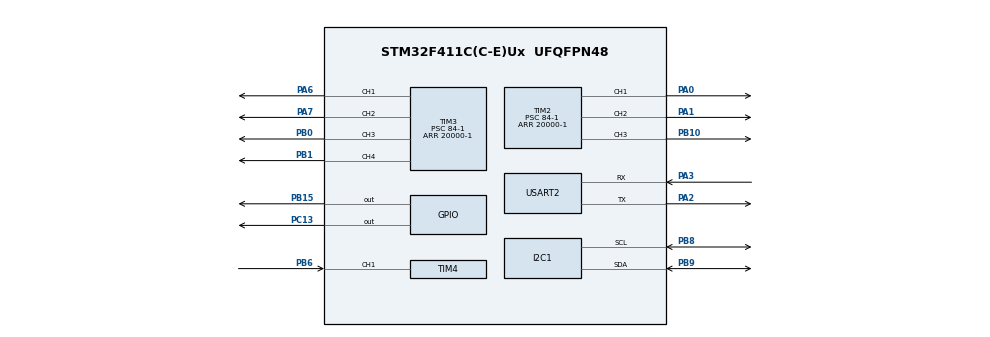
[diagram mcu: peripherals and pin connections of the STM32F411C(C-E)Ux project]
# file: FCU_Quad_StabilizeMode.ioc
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Mcu.Family=STM32F4
Mcu.Name=STM32F411C(C-E)Ux
Mcu.Package=UFQFPN48
NVIC.PriorityGroup=NVIC_PRIORITYGROUP_4
NVIC.TIM4_IRQn=true\:0\:0\:false\:false\:true\:true\:true\:true
PA0-WKUP.Signal=S_TIM2_CH1_ETR
PA1.Signal=S_TIM2_CH2
PA2.Mode=Asynchronous
PA2.Signal=USART2_TX
PA3.Mode=Asynchronous
PA3.Signal=USART2_RX
PA6.Signal=S_TIM3_CH1
PA7.Signal=S_TIM3_CH2
PB0.Signal=S_TIM3_CH3
PB1.Signal=S_TIM3_CH4
PB10.Signal=S_TIM2_CH3
PB15.Signal=GPIO_Output
PB6.GPIO_PuPd=GPIO_PULLDOWN
PB6.Signal=S_TIM4_CH1
PB8.Mode=I2C
PB8.Signal=I2C1_SCL
PB9.Mode=I2C
PB9.Signal=I2C1_SDA
PC13-ANTI_TAMP.PinState=GPIO_PIN_SET
PC13-ANTI_TAMP.Signal=GPIO_Output
ProjectManager.HeapSize=0x200
ProjectManager.StackSize=0x400
ProjectManager.TargetToolchain=STM32CubeIDE
RCC.48MHZClocksFreq_Value=42000000
RCC.AHBFreq_Value=84000000
RCC.APB1CLKDivider=RCC_HCLK_DIV2
RCC.APB1Freq_Value=42000000
RCC.APB1TimFreq_Value=84000000
RCC.APB2Freq_Value=84000000
RCC.APB2TimFreq_Value=84000000
RCC.CortexFreq_Value=84000000
RCC.HCLKFreq_Value=84000000
RCC.HSE_VALUE=25000000
RCC.HSI_VALUE=16000000
RCC.LSE_VALUE=32768
RCC.PLLM=8
RCC.PLLN=84
RCC.SYSCLKFreq_VALUE=84000000
RCC.SYSCLKSource=RCC_SYSCLKSOURCE_PLLCLK
RCC.VCOOutputFreq_Value=168000000
SH.S_TIM2_CH1_ETR.0=TIM2_CH1,PWM Generation1 CH1
SH.S_TIM2_CH2.0=TIM2_CH2,PWM Generation2 CH2
SH.S_TIM2_CH3.0=TIM2_CH3,PWM Generation3 CH3
SH.S_TIM3_CH1.0=TIM3_CH1,PWM Generation1 CH1
SH.S_TIM3_CH2.0=TIM3_CH2,PWM Generation2 CH2
SH.S_TIM3_CH3.0=TIM3_CH3,PWM Generation3 CH3
SH.S_TIM3_CH4.0=TIM3_CH4,PWM Generation4 CH4
SH.S_TIM4_CH1.0=TIM4_CH1,Input_Capture1_from_TI1
TIM10.Prescaler=84-1
TIM2.Channel-PWM\ Generation1\ CH1=TIM_CHANNEL_1
TIM2.Channel-PWM\ Generation2\ CH2=TIM_CHANNEL_2
TIM2.Channel-PWM\ Generation3\ CH3=TIM_CHANNEL_3
TIM2.Period=20000-1
TIM2.Prescaler=84-1
TIM3.Channel-PWM\ Generation1\ CH1=TIM_CHANNEL_1
TIM3.Channel-PWM\ Generation2\ CH2=TIM_CHANNEL_2
TIM3.Channel-PWM\ Generation3\ CH3=TIM_CHANNEL_3
TIM3.Channel-PWM\ Generation4\ CH4=TIM_CHANNEL_4
TIM3.Period=20000-1
TIM3.Prescaler=84-1
TIM4.Channel-Input_Capture1_from_TI1=TIM_CHANNEL_1
TIM4.Prescaler=84-1
USART2.VirtualMode=VM_ASYNC
VP_TIM10_VS_ClockSourceINT.Mode=Enable_Timer
VP_TIM2_VS_ClockSourceINT.Mode=Internal
VP_TIM3_VS_ClockSourceINT.Mode=Internal
VP_TIM4_VS_ClockSourceINT.Mode=Internal
board=custom

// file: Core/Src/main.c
/* USER CODE BEGIN Header */
/**
 ******************************************************************************
 * @file           : main.c
 * @brief          : Main program body
 ******************************************************************************
 * @attention
 *
 * Copyright (c) 2025 STMicroelectronics.
 * All rights reserved.
 *
 * This software is licensed under terms that can be found in the LICENSE file
 * in the root directory of this software component.
 * If no LICENSE file comes with this software, it is provided AS-IS.
 *
 ******************************************************************************
 */
/* USER CODE END Header */
#include "main.h"

/* USER CODE BEGIN Includes */
#include "string.h"
#include "mpu6050.h"
#include <stdio.h>
#include <math.h>
/* USER CODE END Includes */

/* USER CODE BEGIN PD */
#define PUTCHAR_PROTOTYPE int __io_putchar(int ch)

/* USER CODE END PD */

I2C_HandleTypeDef hi2c1;

TIM_HandleTypeDef htim2;
TIM_HandleTypeDef htim3;
TIM_HandleTypeDef htim4;
TIM_HandleTypeDef htim10;

UART_HandleTypeDef huart2;

/* USER CODE BEGIN PV */
volatile uint16_t ppm_live_channels[8];
volatile uint16_t ppm_ready_channels[8];
uint16_t display_channels[8];
volatile uint8_t pulse = 1;

volatile uint8_t ppm_new_data_flag = 0;
volatile uint32_t last_capture = 0;

char msg[100];

volatile uint32_t ICValue_1 = 0;
volatile uint32_t frequency_1 = 0;
volatile float duty_1 = 0;

volatile uint32_t ICValue_2 = 0;
volatile uint32_t frequency_2 = 0;
volatile float duty_2 = 0;

volatile uint32_t ICValue_3 = 0;
volatile uint32_t frequency_3 = 0;
volatile float duty_3 = 0;
volatile uint32_t loop_dt_us = 0;

volatile uint32_t ICValue_4 = 0;
volatile uint32_t frequency_4 = 0;
volatile float duty_4 = 0;

volatile uint32_t ICValue_5 = 0;
volatile uint32_t frequency_5 = 0;
volatile float duty_5 = 0;

volatile uint32_t ICValue_6 = 0;
volatile uint32_t frequency_6 = 0;
volatile float duty_6 = 0;

volatile float pulse_width_us_1;
volatile float pulse_width_us_2;
volatile float pulse_width_us_3;
volatile float pulse_width_us_4;
volatile float pulse_width_us_5;
volatile float pulse_width_us_6;

uint32_t ms = 0;
float calibration_const_global_roll_accel = 0;
float calibration_const_global_pitch_accel = 0;

float calibration_const_global_roll_gyro = 0;
float calibration_const_global_pitch_gyro = 0;

float calibration_const_global_gx = 0;
float calibration_const_global_gy = 0;
float calibration_const_global_gz = 0;

float calibration_const_global_ax = 0;
float calibration_const_global_ay = 0;
float calibration_const_global_az = 0;

float DesiredRateRoll, DesiredRatePitch, DesiredRateYaw;
float ErrorRateRoll, ErrorRatePitch, ErrorRateYaw;
float InputRoll, InputThrottle, InputPitch, InputYaw;
float PrevErrorRateRoll, PrevErrorRatePitch, PrevErrorRateYaw;
float PrevItermRateRoll, PrevItermRatePitch, PrevItermRateYaw;
float PIDReturn[] = { 0, 0, 0 };

float DesiredAngleRoll, DesiredAnglePitch;
float ErrorAngleRoll, ErrorAnglePitch;
float PrevErrorAngleRoll, PrevErrorAnglePitch;
float PrevItermAngleRoll, PrevItermAnglePitch;
float PAngleRoll = 3.0f;
float PAnglePitch = 3.0f;
float IAngleRoll = 0.0f;
float IAnglePitch = 0.0f;
float DAngleRoll = 0.0f;
float DAnglePitch = 0.0f;

float AccZInertial = 0.0f;

float VelocityVertical = 0.0f;

uint32_t last_time;

uint32_t M1 = 0;
uint32_t M2 = 0;
uint32_t M3 = 0;
uint32_t M4 = 0;

int cnt = 0;
float dt = 0;
int prev_cnt = 0;

float gyro_x = 0;
float gyro_y = 0;
float gyro_z = 0;
float accel_roll = 0;
float accel_pitch = 0;

float kalman_roll = 0.0f;
float kalman_pitch = 0.0f;

float PRateRoll = 0.52f;
float PRatePitch = 0.52f;
float PRateYaw = 2;
float IRateRoll = 3.65f;
float IRatePitch = 3.65f;
float IRateYaw = 12;
float DRateRoll = 0.02f;
float DRatePitch = 0.02f;
float DRateYaw = 0;

int measure = 0;

/* USER CODE END PV */

void SystemClock_Config(void);
static void MX_GPIO_Init(void);
static void MX_I2C1_Init(void);
static void MX_TIM3_Init(void);
static void MX_TIM4_Init(void);
static void MX_TIM2_Init(void);
static void MX_USART2_UART_Init(void);
static void MX_TIM10_Init(void);

/* USER CODE BEGIN 0 */

void HAL_TIM_IC_CaptureCallback(TIM_HandleTypeDef *htim) {

	if (htim->Instance == TIM4 && htim->Channel == HAL_TIM_ACTIVE_CHANNEL_1) {
		uint32_t current_capture = HAL_TIM_ReadCapturedValue(htim,
		TIM_CHANNEL_1);
		uint16_t pulse_width;

		if (current_capture > last_capture) {
			pulse_width = current_capture - last_capture;
		} else {
			pulse_width = (65535 - last_capture) + current_capture;
		}

		if (pulse_width > 3000) {

			memcpy((void*) ppm_ready_channels, (void*) ppm_live_channels,
					sizeof(ppm_live_channels));
			ppm_new_data_flag = 1;

			pulse = 1;
		}

		else {
			switch (pulse) {
			case 1:
				ppm_live_channels[0] = pulse_width;
				pulse++;
				break;
			case 2:
				ppm_live_channels[1] = pulse_width;
				pulse++;
				break;
			case 3:
				ppm_live_channels[2] = pulse_width;
				pulse++;
				break;
			case 4:
				ppm_live_channels[3] = pulse_width;
				pulse++;
				break;
			case 5:
				ppm_live_channels[4] = pulse_width;
				pulse++;
				break;
			case 6:
				ppm_live_channels[5] = pulse_width;
				pulse++;
				break;
			case 7:
				ppm_live_channels[6] = pulse_width;
				pulse++;
				break;
			default:

				pulse++;
				break;
			}
		}
		last_capture = current_capture;
	}

}

void set_raw_ccr(int ccr_val, int channel) // use this instead , cofnigured for arr = 20k-1 - aryan
{
	if (channel == 1) {
		__HAL_TIM_SET_COMPARE(&htim2, TIM_CHANNEL_1, ccr_val);
	} else if (channel == 2) {
		__HAL_TIM_SET_COMPARE(&htim2, TIM_CHANNEL_2, ccr_val);
	} else if (channel == 3) {
		__HAL_TIM_SET_COMPARE(&htim2, TIM_CHANNEL_3, ccr_val);
	} else if (channel == 4) {
		__HAL_TIM_SET_COMPARE(&htim3, TIM_CHANNEL_1, ccr_val);
	} else if (channel == 5) {
		__HAL_TIM_SET_COMPARE(&htim3, TIM_CHANNEL_2, ccr_val);
	} else if (channel == 6) {
		__HAL_TIM_SET_COMPARE(&htim3, TIM_CHANNEL_3, ccr_val);
	} else if (channel == 7) {
		__HAL_TIM_SET_COMPARE(&htim3, TIM_CHANNEL_4, ccr_val);
	}
}

void pid_equation(float Error, float P, float I, float D, float PrevError,
		float PrevIterm) {

	float Pterm = P * Error; // - simple multiplication of p term with error
	float Iterm = PrevIterm + I * (Error + PrevError) * 0.004 / 2; //trapezoidal integration - aryan
	if (Iterm > 400) // i term negative and positive clamp - aryan
		Iterm = 400;
	else if (Iterm < -400)
		Iterm = -400;
	float Dterm = D * (Error - PrevError) / 0.004; // - trapezoidal derivative - aryan
	float PIDOutput = Pterm + Iterm + Dterm;
	if (PIDOutput > 400) // pid output limiter, low for laggier response, higher for faster response
		PIDOutput = 400;
	else if (PIDOutput < -400)
		PIDOutput = -400;
	PIDReturn[0] = PIDOutput;
	PIDReturn[1] = Error;
	PIDReturn[2] = Iterm;
}

float vertical_velocity(void) {
	AccZInertial = -sin(kalman_pitch * (3.142 / 180))
			* (mpu_accel_read(0) - calibration_const_global_ax)
			+ cos(kalman_pitch * (3.142 / 180))
					* sin(kalman_roll * (3.142 / 180))
					* (mpu_accel_read(1) - calibration_const_global_ay)
			+ cos(kalman_pitch * (3.142 / 180))
					* cos(kalman_roll * (3.142 / 180))
					* (mpu_accel_read(2) - calibration_const_global_az);

	AccZInertial = (AccZInertial - 1) * 9.81 * 100;

	VelocityVertical = VelocityVertical + AccZInertial * 0.004;

	return VelocityVertical;

}

PUTCHAR_PROTOTYPE {
	/* Place your implementation of fputc here */
	/* e.g. write a character to the USART1 and Loop until the end of transmission */
	HAL_UART_Transmit(&huart2, (uint8_t*) &ch, 1, 0xFFFF);

	return ch;
}

uint32_t mapRCtoMotor(uint16_t rcValue) {
	if (rcValue > 2000) {
		rcValue = 2000;
	}
	if (rcValue < 1000) {
		rcValue = 1000;
	}
	// used simple ratio vala logic (y-0/63000-0 = x-1000 / 2000-1000)
	uint32_t motorValue = (uint32_t) (rcValue - 1000) * 180 / 1000;
	return motorValue;
}

uint32_t micros(void) {
	return __HAL_TIM_GET_COUNTER(&htim10);
}

float mapRCtoPID(uint16_t rcValue) {
	if (rcValue > 2000)
		rcValue = 2000;
	if (rcValue < 1000)
		rcValue = 1000;
	return (rcValue - 1000) * 10.0f / 1000.0f;
}

void reset_pid(void) {
	PrevErrorRateRoll = 0;
	PrevErrorRatePitch = 0;
	PrevErrorRateYaw = 0;

	PrevItermRateRoll = 0;
	PrevItermRatePitch = 0;
	PrevItermRateYaw = 0;

	PrevErrorAngleRoll = 0;
	PrevErrorAnglePitch = 0;
	PrevItermAngleRoll = 0;
	PrevItermAnglePitch = 0;
}
/* USER CODE END 0 */

int main(void) {

	/* MCU Configuration--------------------------------------------------------*/

	/* Reset of all peripherals, Initializes the Flash interface and the Systick. */
	HAL_Init();

	/* Configure the system clock */
	SystemClock_Config();

	/* Initialize all configured peripherals */
	MX_GPIO_Init();
	MX_I2C1_Init();
	MX_TIM3_Init();
	MX_TIM4_Init();
	MX_TIM2_Init();
	MX_USART2_UART_Init();
	MX_TIM10_Init();
	/* USER CODE BEGIN 2 */

	HAL_TIM_PWM_Start(&htim2, TIM_CHANNEL_1); //pwm out tim2
	HAL_TIM_PWM_Start(&htim2, TIM_CHANNEL_2);
	HAL_TIM_PWM_Start(&htim2, TIM_CHANNEL_3);
	HAL_TIM_PWM_Start(&htim3, TIM_CHANNEL_1); //pwm out tim3
	HAL_TIM_PWM_Start(&htim3, TIM_CHANNEL_2);
	HAL_TIM_PWM_Start(&htim3, TIM_CHANNEL_3);
	HAL_TIM_PWM_Start(&htim3, TIM_CHANNEL_4);
	HAL_TIM_IC_Start_IT(&htim4, TIM_CHANNEL_1);

	int ThrottleIdle = 1050;

	mpu_init();

/*
	calibration_const_global_gx = mpu_gyro_calibration(0);
	calibration_const_global_gy = mpu_gyro_calibration(1);
	calibration_const_global_gz = mpu_gyro_calibration(2);

	calibration_const_global_roll_accel = mpu_roll_pitch_calibration_accel(0);
	calibration_const_global_pitch_accel = mpu_roll_pitch_calibration_accel(1);
*/

	HAL_TIM_Base_Start(&htim10);

	last_time = micros();

	/* USER CODE END 2 */

	/* Infinite loop */
	/* USER CODE BEGIN WHILE */
	while (1) {
		uint32_t now = micros();

		/* handle TIM10 wraparound */
		if (now < last_time)
		{
		    last_time = now;
		    //return;   // skip this loop safely
		}

		uint32_t dt = now - last_time;

		if (dt >= 4000)
		{
		    loop_dt_us = dt;   // <-- THIS is what you plot
		    last_time = now;

		    /* rest of your control loop stays unchanged */

			ms = now - last_time;
			last_time = now;

			////////ppm/////////
			memcpy(display_channels, (void*) ppm_ready_channels,
					sizeof(ppm_ready_channels));
			ppm_new_data_flag = 0;

			//////ppm//////////

			//desired set point calc - aryan
			DesiredAngleRoll = 0.10 * (display_channels[0] - 1500);
			DesiredAnglePitch = 0.10 * (display_channels[1] - 1500);
			InputThrottle = display_channels[2];
			DesiredRateYaw = 0.15 * (display_channels[3] - 1500);

			DesiredRateYaw = -DesiredRateYaw;

			//realtime pid mapping - uncomment out for tuning

			PAngleRoll = mapRCtoPID(display_channels[4]);
			PAnglePitch = mapRCtoPID(display_channels[4]);

			/*		PRatePitch = mapRCtoPID(display_channels[4]);
			 PRateRoll = mapRCtoPID(display_channels[4]);
			 PRatePitch = mapRCtoPID(display_channels[4]);

			 IRateRoll = mapRCtoPID(display_channels[5]);
			 IRatePitch = mapRCtoPID(display_channels[5]);*/

			//stabilize controller
			//error calc (desired - current = error oof)
			mpu_get_kalman_angles(&kalman_roll, &kalman_pitch);

			ErrorAngleRoll = DesiredAngleRoll - kalman_roll;
			ErrorAnglePitch = DesiredAnglePitch - kalman_pitch;

			//actual pid calculations and value return - aryan
			pid_equation(ErrorAngleRoll, PAngleRoll, IAngleRoll, DAngleRoll,
					PrevErrorAngleRoll, PrevItermAngleRoll);
			DesiredRateRoll = PIDReturn[0];
			PrevErrorAngleRoll = PIDReturn[1];
			PrevItermAngleRoll = PIDReturn[2];
			pid_equation(ErrorAnglePitch, PAnglePitch, IAnglePitch, DAnglePitch,
					PrevErrorAnglePitch, PrevItermAnglePitch);
			DesiredRatePitch = PIDReturn[0];
			PrevErrorAnglePitch = PIDReturn[1];
			PrevItermAnglePitch = PIDReturn[2];

			//rate controller
			ErrorRateRoll = DesiredRateRoll
					- (mpu_gyro_read(0) - calibration_const_global_gx); //x
			ErrorRatePitch = DesiredRatePitch
					- (mpu_gyro_read(1) - calibration_const_global_gy); //y
			ErrorRateYaw = DesiredRateYaw
					- (mpu_gyro_read(2) - calibration_const_global_gz); //z

			pid_equation(ErrorRateRoll, PRateRoll, IRateRoll, DRateRoll,
					PrevErrorRateRoll, PrevItermRateRoll);
			InputRoll = PIDReturn[0];
			PrevErrorRateRoll = PIDReturn[1];
			PrevItermRateRoll = PIDReturn[2];
			pid_equation(ErrorRatePitch, PRatePitch, IRatePitch, DRatePitch,
					PrevErrorRatePitch, PrevItermRatePitch);
			InputPitch = PIDReturn[0];
			PrevErrorRatePitch = PIDReturn[1];
			PrevItermRatePitch = PIDReturn[2];
			pid_equation(ErrorRateYaw, PRateYaw, IRateYaw, DRateYaw,
					PrevErrorRateYaw, PrevItermRateYaw);
			InputYaw = PIDReturn[0];
			PrevErrorRateYaw = PIDReturn[1];
			PrevItermRateYaw = PIDReturn[2];
			/*
			 printf(
			 "THR=%u ERR[R%+.2f P%+.2f Y%+.2f] PIDOUT[R%+.2f P%+.2f Y%+.2f] MIX[%ld,%ld,%ld,%ld]\n",
			 display_channels[2], ErrorRateRoll, ErrorRatePitch,
			 ErrorRateYaw, InputRoll, InputPitch, InputYaw, (long) M1,
			 (long) M2, (long) M3, (long) M4);
			 */

			//corresponds to each of the 4 motors and their respective motor mixing formulas - aryan
			//yaw is reversed, so basically flipping it back - aryan
			M1 = 1.024f * (InputThrottle - InputRoll - InputPitch - InputYaw);
			M2 = 1.024f * (InputThrottle - InputRoll + InputPitch + InputYaw);
			M3 = 1.024f * (InputThrottle + InputRoll + InputPitch - InputYaw);
			M4 = 1.024f * (InputThrottle + InputRoll - InputPitch + InputYaw);

///debug print
			/*
			 printf("THR=%u MIX=[%ld,%ld,%ld,%ld] PID=[R%+.1f P%+.1f Y%+.1f] OUT=[%lu,%lu,%lu,%lu]\n",
			 display_channels[2],
			 (long)M1, (long)M2, (long)M3, (long)M4,
			 InputRoll, InputPitch, InputYaw,
			 (unsigned long)M1, (unsigned long)M2,
			 (unsigned long)M3, (unsigned long)M4);

			 printf("GZ raw=%+.2f  GZ cal=%+.2f  ErrorY=%+.2f\n",
			 mpu_gyro_read(2),
			 mpu_gyro_read(2) - calibration_const_global_gz,
			 ErrorRateYaw);
			 */

			//basically the lowest the throttle can go - aryan
			if (M1 < ThrottleIdle)
				M1 = ThrottleIdle;
			if (M2 < ThrottleIdle)
				M2 = ThrottleIdle;
			if (M3 < ThrottleIdle)
				M3 = ThrottleIdle;
			if (M4 < ThrottleIdle)
				M4 = ThrottleIdle;

			// capping maximum m1-4 values - aryan

			if (M1 > 2000)
				M1 = 1999;
			if (M2 > 2000)
				M2 = 1999;
			if (M3 > 2000)
				M3 = 1999;
			if (M4 > 2000)
				M4 = 1999;

			//whenever 0 throttle issued to remote then cutoff and reset pid  - aryan

			int ThrottleCutOff = 1000;
			if (display_channels[2] < 1100) {
				M1 = ThrottleCutOff;
				M2 = ThrottleCutOff;
				M3 = ThrottleCutOff;
				M4 = ThrottleCutOff;
				reset_pid();
			}

			//finally send the issued motor power commands to the motors themselves - aryan

			//channel notes on our test setup - aryan

			/*	top right - tim 3 ch 1  -
			 top left - tim 3 ch 3
			 bottom right - tim 3 ch 4
			 bottom left - tim 3 ch 2*/

			set_raw_ccr(M1, 5); // func 4 is m3
			set_raw_ccr(M4, 7); // func 7 is m4
			set_raw_ccr(M3, 4);  // func 5 is m1
			set_raw_ccr(M2, 6); //func 6 is m2

//debug prints

			/*

			 printf("VVC is %f\n",vertical_velocity());

			 printf("P Roll and pitch is %f and I Roll and pitch is %f\n",PRatePitch, IRatePitch);

			 printf("CH: "
			 "0=%4u "
			 "1=%4u "
			 "2=%4u "
			 "3=%4u "
			 "4=%4u "
			 "5=%4u "
			 "6=%4u\r\n", display_channels[0], display_channels[1],
			 display_channels[2], display_channels[3],
			 display_channels[4], display_channels[5],
			 display_channels[6]);

			 printf("M1:%lu  M2:%lu  M3:%lu  M4:%lu\r\n",
			 (unsigned long) M1, (unsigned long) M2,
			 (unsigned long) M3, (unsigned long) M4);

			 printf("GYRO raw: gx=%+.2f gy=%+.2f gz=%+.2f\n",
			 mpu_gyro_read(0) - calibration_const_global_gx , mpu_gyro_read(1) - calibration_const_global_gy , mpu_gyro_read(2) - calibration_const_global_gz );

			 printf("ERR: eR=%+.2f eP=%+.2f eY=%+.2f\n", ErrorRateRoll,
			 ErrorRatePitch, ErrorRateYaw);

			 printf("PID R: P=%+.2f I=%+.2f D=%+.2f OUT=%+.2f\n",
			 PRateRoll * PrevErrorRateRoll,
			 PrevItermRateRoll,
			 InputRoll - (PRateRoll * PrevErrorRateRoll + PrevItermRateRoll),
			 InputRoll);

			 printf("PID P: P=%+.2f I=%+.2f D=%+.2f OUT=%+.2f\n",
			 PRatePitch * PrevErrorRatePitch,
			 PrevItermRatePitch,
			 InputPitch - (PRatePitch * PrevErrorRatePitch + PrevItermRatePitch),
			 InputPitch);

			 printf("PID Y: P=%+.2f I=%+.2f D=%+.2f OUT=%+.2f\n",
			 PRateYaw * PrevErrorRateYaw,
			 PrevItermRateYaw,
			 InputYaw - (PRateYaw * PrevErrorRateYaw + PrevItermRateYaw),
			 InputYaw);

			 printf("MIX raw: M1=%d M2=%d M3=%d M4=%d\n", M1, M2, M3, M4);

			 printf("PWM OUT: TR=%d TL=%d BL=%d BR=%d\n",
			 M1, M2, M3, M4);

			 printf("CH: "
			 "0=%4u "
			 "1=%4u "
			 "2=%4u "
			 "3=%4u "
			 "4=%4u "
			 "5=%4u "
			 "6=%4u\r\n", display_channels[0], display_channels[1],
			 display_channels[2], display_channels[3],
			 display_channels[4], display_channels[5],
			 display_channels[6]);

			 */
			measure = 0;
		}
	}
	/* USER CODE END WHILE */

}

void SystemClock_Config(void) {
RCC_OscInitTypeDef RCC_OscInitStruct = { 0 };
RCC_ClkInitTypeDef RCC_ClkInitStruct = { 0 };

/** Configure the main internal regulator output voltage
 */
__HAL_RCC_PWR_CLK_ENABLE();
__HAL_PWR_VOLTAGESCALING_CONFIG(PWR_REGULATOR_VOLTAGE_SCALE1);

/** Initializes the RCC Oscillators according to the specified parameters
 * in the RCC_OscInitTypeDef structure.
 */
RCC_OscInitStruct.OscillatorType = RCC_OSCILLATORTYPE_HSI;
RCC_OscInitStruct.HSIState = RCC_HSI_ON;
RCC_OscInitStruct.HSICalibrationValue = RCC_HSICALIBRATION_DEFAULT;
RCC_OscInitStruct.PLL.PLLState = RCC_PLL_ON;
RCC_OscInitStruct.PLL.PLLSource = RCC_PLLSOURCE_HSI;
RCC_OscInitStruct.PLL.PLLM = 8;
RCC_OscInitStruct.PLL.PLLN = 84;
RCC_OscInitStruct.PLL.PLLP = RCC_PLLP_DIV2;
RCC_OscInitStruct.PLL.PLLQ = 4;
if (HAL_RCC_OscConfig(&RCC_OscInitStruct) != HAL_OK) {
	Error_Handler();
}

/** Initializes the CPU, AHB and APB buses clocks
 */
RCC_ClkInitStruct.ClockType = RCC_CLOCKTYPE_HCLK | RCC_CLOCKTYPE_SYSCLK
		| RCC_CLOCKTYPE_PCLK1 | RCC_CLOCKTYPE_PCLK2;
RCC_ClkInitStruct.SYSCLKSource = RCC_SYSCLKSOURCE_PLLCLK;
RCC_ClkInitStruct.AHBCLKDivider = RCC_SYSCLK_DIV1;
RCC_ClkInitStruct.APB1CLKDivider = RCC_HCLK_DIV2;
RCC_ClkInitStruct.APB2CLKDivider = RCC_HCLK_DIV1;

if (HAL_RCC_ClockConfig(&RCC_ClkInitStruct, FLASH_LATENCY_2) != HAL_OK) {
	Error_Handler();
}
}

static void MX_I2C1_Init(void) {

hi2c1.Instance = I2C1;
hi2c1.Init.ClockSpeed = 100000;
hi2c1.Init.DutyCycle = I2C_DUTYCYCLE_2;
hi2c1.Init.OwnAddress1 = 0;
hi2c1.Init.AddressingMode = I2C_ADDRESSINGMODE_7BIT;
hi2c1.Init.DualAddressMode = I2C_DUALADDRESS_DISABLE;
hi2c1.Init.OwnAddress2 = 0;
hi2c1.Init.GeneralCallMode = I2C_GENERALCALL_DISABLE;
hi2c1.Init.NoStretchMode = I2C_NOSTRETCH_DISABLE;
if (HAL_I2C_Init(&hi2c1) != HAL_OK) {
	Error_Handler();
}

}

static void MX_TIM2_Init(void) {

TIM_ClockConfigTypeDef sClockSourceConfig = { 0 };
TIM_MasterConfigTypeDef sMasterConfig = { 0 };
TIM_OC_InitTypeDef sConfigOC = { 0 };

htim2.Instance = TIM2;
htim2.Init.Prescaler = 84 - 1;
htim2.Init.CounterMode = TIM_COUNTERMODE_UP;
htim2.Init.Period = 20000 - 1;
htim2.Init.ClockDivision = TIM_CLOCKDIVISION_DIV1;
htim2.Init.AutoReloadPreload = TIM_AUTORELOAD_PRELOAD_DISABLE;
if (HAL_TIM_Base_Init(&htim2) != HAL_OK) {
	Error_Handler();
}
sClockSourceConfig.ClockSource = TIM_CLOCKSOURCE_INTERNAL;
if (HAL_TIM_ConfigClockSource(&htim2, &sClockSourceConfig) != HAL_OK) {
	Error_Handler();
}
if (HAL_TIM_PWM_Init(&htim2) != HAL_OK) {
	Error_Handler();
}
sMasterConfig.MasterOutputTrigger = TIM_TRGO_RESET;
sMasterConfig.MasterSlaveMode = TIM_MASTERSLAVEMODE_DISABLE;
if (HAL_TIMEx_MasterConfigSynchronization(&htim2, &sMasterConfig) != HAL_OK) {
	Error_Handler();
}
sConfigOC.OCMode = TIM_OCMODE_PWM1;
sConfigOC.Pulse = 0;
sConfigOC.OCPolarity = TIM_OCPOLARITY_HIGH;
sConfigOC.OCFastMode = TIM_OCFAST_DISABLE;
if (HAL_TIM_PWM_ConfigChannel(&htim2, &sConfigOC, TIM_CHANNEL_1) != HAL_OK) {
	Error_Handler();
}
if (HAL_TIM_PWM_ConfigChannel(&htim2, &sConfigOC, TIM_CHANNEL_2) != HAL_OK) {
	Error_Handler();
}
if (HAL_TIM_PWM_ConfigChannel(&htim2, &sConfigOC, TIM_CHANNEL_3) != HAL_OK) {
	Error_Handler();
}
HAL_TIM_MspPostInit(&htim2);

}

static void MX_TIM3_Init(void) {

TIM_ClockConfigTypeDef sClockSourceConfig = { 0 };
TIM_MasterConfigTypeDef sMasterConfig = { 0 };
TIM_OC_InitTypeDef sConfigOC = { 0 };

htim3.Instance = TIM3;
htim3.Init.Prescaler = 84 - 1;
htim3.Init.CounterMode = TIM_COUNTERMODE_UP;
htim3.Init.Period = 20000 - 1;
htim3.Init.ClockDivision = TIM_CLOCKDIVISION_DIV1;
htim3.Init.AutoReloadPreload = TIM_AUTORELOAD_PRELOAD_DISABLE;
if (HAL_TIM_Base_Init(&htim3) != HAL_OK) {
	Error_Handler();
}
sClockSourceConfig.ClockSource = TIM_CLOCKSOURCE_INTERNAL;
if (HAL_TIM_ConfigClockSource(&htim3, &sClockSourceConfig) != HAL_OK) {
	Error_Handler();
}
if (HAL_TIM_PWM_Init(&htim3) != HAL_OK) {
	Error_Handler();
}
sMasterConfig.MasterOutputTrigger = TIM_TRGO_RESET;
sMasterConfig.MasterSlaveMode = TIM_MASTERSLAVEMODE_DISABLE;
if (HAL_TIMEx_MasterConfigSynchronization(&htim3, &sMasterConfig) != HAL_OK) {
	Error_Handler();
}
sConfigOC.OCMode = TIM_OCMODE_PWM1;
sConfigOC.Pulse = 0;
sConfigOC.OCPolarity = TIM_OCPOLARITY_HIGH;
sConfigOC.OCFastMode = TIM_OCFAST_DISABLE;
if (HAL_TIM_PWM_ConfigChannel(&htim3, &sConfigOC, TIM_CHANNEL_1) != HAL_OK) {
	Error_Handler();
}
if (HAL_TIM_PWM_ConfigChannel(&htim3, &sConfigOC, TIM_CHANNEL_2) != HAL_OK) {
	Error_Handler();
}
if (HAL_TIM_PWM_ConfigChannel(&htim3, &sConfigOC, TIM_CHANNEL_3) != HAL_OK) {
	Error_Handler();
}
if (HAL_TIM_PWM_ConfigChannel(&htim3, &sConfigOC, TIM_CHANNEL_4) != HAL_OK) {
	Error_Handler();
}
HAL_TIM_MspPostInit(&htim3);

}

static void MX_TIM4_Init(void) {

TIM_ClockConfigTypeDef sClockSourceConfig = { 0 };
TIM_MasterConfigTypeDef sMasterConfig = { 0 };
TIM_IC_InitTypeDef sConfigIC = { 0 };

htim4.Instance = TIM4;
htim4.Init.Prescaler = 84 - 1;
htim4.Init.CounterMode = TIM_COUNTERMODE_UP;
htim4.Init.Period = 65535;
htim4.Init.ClockDivision = TIM_CLOCKDIVISION_DIV1;
htim4.Init.AutoReloadPreload = TIM_AUTORELOAD_PRELOAD_DISABLE;
if (HAL_TIM_Base_Init(&htim4) != HAL_OK) {
	Error_Handler();
}
sClockSourceConfig.ClockSource = TIM_CLOCKSOURCE_INTERNAL;
if (HAL_TIM_ConfigClockSource(&htim4, &sClockSourceConfig) != HAL_OK) {
	Error_Handler();
}
if (HAL_TIM_IC_Init(&htim4) != HAL_OK) {
	Error_Handler();
}
sMasterConfig.MasterOutputTrigger = TIM_TRGO_RESET;
sMasterConfig.MasterSlaveMode = TIM_MASTERSLAVEMODE_DISABLE;
if (HAL_TIMEx_MasterConfigSynchronization(&htim4, &sMasterConfig) != HAL_OK) {
	Error_Handler();
}
sConfigIC.ICPolarity = TIM_INPUTCHANNELPOLARITY_RISING;
sConfigIC.ICSelection = TIM_ICSELECTION_DIRECTTI;
sConfigIC.ICPrescaler = TIM_ICPSC_DIV1;
sConfigIC.ICFilter = 0;
if (HAL_TIM_IC_ConfigChannel(&htim4, &sConfigIC, TIM_CHANNEL_1) != HAL_OK) {
	Error_Handler();
}

}

static void MX_TIM10_Init(void) {

htim10.Instance = TIM10;
htim10.Init.Prescaler = 84 - 1;
htim10.Init.CounterMode = TIM_COUNTERMODE_UP;
htim10.Init.Period = 65535;
htim10.Init.ClockDivision = TIM_CLOCKDIVISION_DIV1;
htim10.Init.AutoReloadPreload = TIM_AUTORELOAD_PRELOAD_DISABLE;
if (HAL_TIM_Base_Init(&htim10) != HAL_OK) {
	Error_Handler();
}

}

static void MX_USART2_UART_Init(void) {

huart2.Instance = USART2;
huart2.Init.BaudRate = 115200;
huart2.Init.WordLength = UART_WORDLENGTH_8B;
huart2.Init.StopBits = UART_STOPBITS_1;
huart2.Init.Parity = UART_PARITY_NONE;
huart2.Init.Mode = UART_MODE_TX_RX;
huart2.Init.HwFlowCtl = UART_HWCONTROL_NONE;
huart2.Init.OverSampling = UART_OVERSAMPLING_16;
if (HAL_UART_Init(&huart2) != HAL_OK) {
	Error_Handler();
}

}

static void MX_GPIO_Init(void) {
GPIO_InitTypeDef GPIO_InitStruct = { 0 };

/* GPIO Ports Clock Enable */
__HAL_RCC_GPIOC_CLK_ENABLE();
__HAL_RCC_GPIOA_CLK_ENABLE();
__HAL_RCC_GPIOB_CLK_ENABLE();

/*Configure GPIO pin Output Level */
HAL_GPIO_WritePin(GPIOC, GPIO_PIN_13, GPIO_PIN_SET);

/*Configure GPIO pin Output Level */
HAL_GPIO_WritePin(GPIOB, GPIO_PIN_15, GPIO_PIN_RESET);

/*Configure GPIO pin : PC13 */
GPIO_InitStruct.Pin = GPIO_PIN_13;
GPIO_InitStruct.Mode = GPIO_MODE_OUTPUT_PP;
GPIO_InitStruct.Pull = GPIO_NOPULL;
GPIO_InitStruct.Speed = GPIO_SPEED_FREQ_LOW;
HAL_GPIO_Init(GPIOC, &GPIO_InitStruct);

/*Configure GPIO pin : PB15 */
GPIO_InitStruct.Pin = GPIO_PIN_15;
GPIO_InitStruct.Mode = GPIO_MODE_OUTPUT_PP;
GPIO_InitStruct.Pull = GPIO_NOPULL;
GPIO_InitStruct.Speed = GPIO_SPEED_FREQ_LOW;
HAL_GPIO_Init(GPIOB, &GPIO_InitStruct);

}

void Error_Handler(void) {
__disable_irq();
while (1) {
}
}
